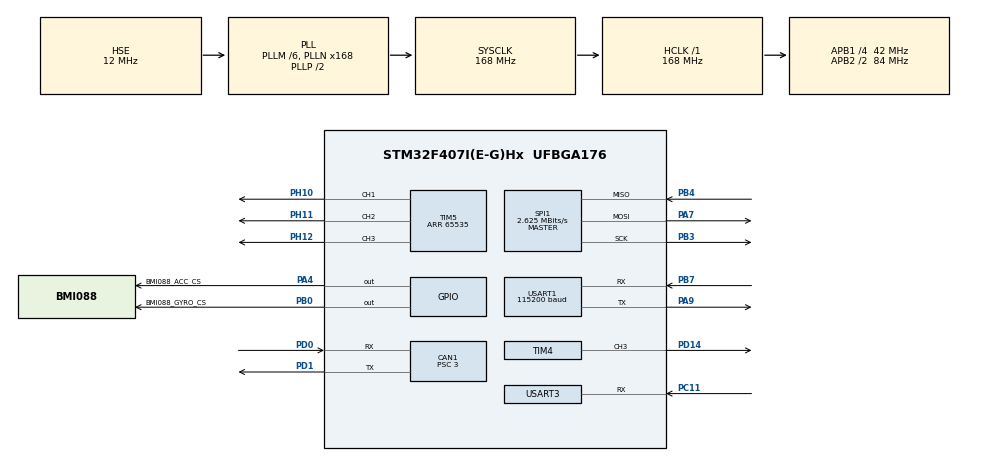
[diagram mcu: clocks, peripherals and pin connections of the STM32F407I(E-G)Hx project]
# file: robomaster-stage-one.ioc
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FREERTOS.Tasks01=defaultTask,0,512,StartDefaultTask,Default,NULL,Dynamic,NULL,NULL;ledtask,-2,128,led_task,As external,NULL,Dynamic,NULL,NULL;buzzertask,-2,128,buzzer_task,As external,NULL,Dynamic,NULL,NULL
Mcu.Family=STM32F4
Mcu.Name=STM32F407I(E-G)Hx
Mcu.Package=UFBGA176
NVIC.PriorityGroup=NVIC_PRIORITYGROUP_4
PA13.Mode=Serial_Wire
PA13.Signal=SYS_JTMS-SWDIO
PA14.Mode=Serial_Wire
PA14.Signal=SYS_JTCK-SWCLK
PD14.Signal=S_TIM4_CH3
PH0-OSC_IN.Mode=HSE-External-Oscillator
PH0-OSC_IN.Signal=RCC_OSC_IN
PH1-OSC_OUT.Mode=HSE-External-Oscillator
PH1-OSC_OUT.Signal=RCC_OSC_OUT
PH10.GPIO_PuPd=GPIO_PULLUP
PH10.Signal=S_TIM5_CH1
PH11.GPIO_PuPd=GPIO_PULLUP
PH11.GPIO_Speed=GPIO_SPEED_FREQ_HIGH
PH11.Signal=S_TIM5_CH2
PH12.GPIO_PuPd=GPIO_PULLUP
PH12.GPIO_Speed=GPIO_SPEED_FREQ_HIGH
PH12.Signal=S_TIM5_CH3
ProjectManager.HeapSize=0x200
ProjectManager.StackSize=0x400
ProjectManager.TargetToolchain=CMake
RCC.48MHZClocksFreq_Value=84000000
RCC.AHBFreq_Value=168000000
RCC.APB1CLKDivider=RCC_HCLK_DIV4
RCC.APB1Freq_Value=42000000
RCC.APB1TimFreq_Value=84000000
RCC.APB2CLKDivider=RCC_HCLK_DIV2
RCC.APB2Freq_Value=84000000
RCC.APB2TimFreq_Value=168000000
RCC.CortexFreq_Value=168000000
RCC.HCLKFreq_Value=168000000
RCC.HSE_VALUE=12000000
RCC.HSI_VALUE=16000000
RCC.LSE_VALUE=32768
RCC.PLLM=6
RCC.PLLN=168
RCC.PLLSourceVirtual=RCC_PLLSOURCE_HSE
RCC.SYSCLKFreq_VALUE=168000000
RCC.SYSCLKSource=RCC_SYSCLKSOURCE_PLLCLK
RCC.VCOOutputFreq_Value=336000000
SH.S_TIM4_CH3.0=TIM4_CH3,PWM Generation3 CH3
SH.S_TIM5_CH1.0=TIM5_CH1,PWM Generation1 CH1
SH.S_TIM5_CH2.0=TIM5_CH2,PWM Generation2 CH2
SH.S_TIM5_CH3.0=TIM5_CH3,PWM Generation3 CH3
TIM4.Channel-PWM\ Generation3\ CH3=TIM_CHANNEL_3
TIM5.Channel-PWM\ Generation1\ CH1=TIM_CHANNEL_1
TIM5.Channel-PWM\ Generation2\ CH2=TIM_CHANNEL_2
TIM5.Channel-PWM\ Generation3\ CH3=TIM_CHANNEL_3
TIM5.Period=65535
VP_FREERTOS_VS_CMSIS_V1.Mode=CMSIS_V1
VP_TIM5_VS_ClockSourceINT.Mode=Internal
board=custom
PA4.PinState=GPIO_PIN_SET
PA4.GPIO_Label=BMI088_ACC_CS
PA4.Signal=GPIO_Output
PB0.PinState=GPIO_PIN_SET
PB0.GPIO_Label=BMI088_GYRO_CS
PB0.Signal=GPIO_Output
PA7.Mode=Full_Duplex_Master
PA7.Signal=SPI1_MOSI
PB3.Mode=Full_Duplex_Master
PB3.Signal=SPI1_SCK
PB4.Mode=Full_Duplex_Master
PB4.Signal=SPI1_MISO
PA9.Mode=Asynchronous
PA9.Signal=USART1_TX
PB7.Mode=Asynchronous
PB7.Signal=USART1_RX
SPI1.BaudRatePrescaler=SPI_BAUDRATEPRESCALER_32
SPI1.CLKPhase=SPI_PHASE_2EDGE
SPI1.CLKPolarity=SPI_POLARITY_HIGH
SPI1.CalculateBaudRate=2.625 MBits/s
SPI1.Direction=SPI_DIRECTION_2LINES
SPI1.Mode=SPI_MODE_MASTER
SPI1.VirtualType=VM_MASTER
USART1.BaudRate=115200
USART1.VirtualMode=VM_ASYNC
PC11.Mode=Asynchronous
PC11.Signal=USART3_RX
USART3.BaudRate=100000
USART3.WordLength=WORDLENGTH_9B
USART3.Parity=PARITY_EVEN
USART3.Mode=MODE_RX
USART3.VirtualMode=VM_ASYNC
NVIC.USART3_IRQn=true\:5\:0\:false\:false\:true\:true\:true\:true\:true
CAN1.Prescaler=3
CAN1.BS1=CAN_BS1_11TQ
CAN1.BS2=CAN_BS2_2TQ
CAN1.SJW=CAN_SJW_1TQ
CAN1.ABOM=ENABLE
CAN1.NART=DISABLE
CAN1.CalculateBaudRate=1000000
PD0.Mode=Master
PD0.Signal=CAN1_RX
PD1.Mode=Master
PD1.Signal=CAN1_TX
NVIC.CAN1_RX0_IRQn=true\:5\:0\:false\:false\:true\:true\:true\:true\:true
NVIC.CAN1_SCE_IRQn=true\:5\:0\:false\:false\:true\:true\:true\:true\:true

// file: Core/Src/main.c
// 111111
/* USER CODE BEGIN Header */
/**
  ******************************************************************************
  * @file           : main.c
  * @brief          : Main program body
  ******************************************************************************
  * @attention
  *
  * Copyright (c) 2026 STMicroelectronics.
  * All rights reserved.
  *
  * This software is licensed under terms that can be found in the LICENSE file
  * in the root directory of this software component.
  * If no LICENSE file comes with this software, it is provided AS-IS.
  *
  ******************************************************************************
  */
/* USER CODE END Header */
#include "main.h"
#include "cmsis_os.h"
#include "tim.h"
#include "gpio.h"
#include "spi.h"
#include "usart.h"
#include "can.h"

/* USER CODE BEGIN Includes */
#include "remote_control.h"

/* USER CODE END Includes */

void SystemClock_Config(void);
void MX_FREERTOS_Init(void);

int main(void)
{

  /* MCU Configuration--------------------------------------------------------*/

  /* Reset of all peripherals, Initializes the Flash interface and the Systick. */
  HAL_Init();

  /* Configure the system clock */
  SystemClock_Config();

  /* Initialize all configured peripherals */
  MX_GPIO_Init();
  MX_TIM5_Init();
  MX_TIM4_Init();
  MX_SPI1_Init();
  MX_USART1_UART_Init();
  MX_USART3_UART_Init();
  MX_CAN1_Init();
  /* USER CODE BEGIN 2 */
  remote_start();

  /* USER CODE END 2 */

  /* Call init function for freertos objects (in cmsis_os2.c) */
  MX_FREERTOS_Init();

  /* Start scheduler */
  osKernelStart();

  /* We should never get here as control is now taken by the scheduler */

  /* Infinite loop */
  /* USER CODE BEGIN WHILE */
  while (1)
  {
    // HAL_GPIO_TogglePin(GPIOH,GPIO_PIN_10);
    // HAL_Delay(500);
    /* USER CODE END WHILE */

  }
}

void SystemClock_Config(void)
{
  RCC_OscInitTypeDef RCC_OscInitStruct = {0};
  RCC_ClkInitTypeDef RCC_ClkInitStruct = {0};

  /** Configure the main internal regulator output voltage
  */
  __HAL_RCC_PWR_CLK_ENABLE();
  __HAL_PWR_VOLTAGESCALING_CONFIG(PWR_REGULATOR_VOLTAGE_SCALE1);

  /** Initializes the RCC Oscillators according to the specified parameters
  * in the RCC_OscInitTypeDef structure.
  */
  RCC_OscInitStruct.OscillatorType = RCC_OSCILLATORTYPE_HSE;
  RCC_OscInitStruct.HSEState = RCC_HSE_ON;
  RCC_OscInitStruct.PLL.PLLState = RCC_PLL_ON;
  RCC_OscInitStruct.PLL.PLLSource = RCC_PLLSOURCE_HSE;
  RCC_OscInitStruct.PLL.PLLM = 6;
  RCC_OscInitStruct.PLL.PLLN = 168;
  RCC_OscInitStruct.PLL.PLLP = RCC_PLLP_DIV2;
  RCC_OscInitStruct.PLL.PLLQ = 4;
  if (HAL_RCC_OscConfig(&RCC_OscInitStruct) != HAL_OK)
  {
    Error_Handler();
  }

  /** Initializes the CPU, AHB and APB buses clocks
  */
  RCC_ClkInitStruct.ClockType = RCC_CLOCKTYPE_HCLK|RCC_CLOCKTYPE_SYSCLK
                              |RCC_CLOCKTYPE_PCLK1|RCC_CLOCKTYPE_PCLK2;
  RCC_ClkInitStruct.SYSCLKSource = RCC_SYSCLKSOURCE_PLLCLK;
  RCC_ClkInitStruct.AHBCLKDivider = RCC_SYSCLK_DIV1;
  RCC_ClkInitStruct.APB1CLKDivider = RCC_HCLK_DIV4;
  RCC_ClkInitStruct.APB2CLKDivider = RCC_HCLK_DIV2;

  if (HAL_RCC_ClockConfig(&RCC_ClkInitStruct, FLASH_LATENCY_5) != HAL_OK)
  {
    Error_Handler();
  }
}

void Error_Handler(void)
{
  __disable_irq();
  while (1)
  {
  }
}

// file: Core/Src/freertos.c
/* USER CODE BEGIN Header */
/**
  ******************************************************************************
  * File Name          : freertos.c
  * Description        : Code for freertos applications
  ******************************************************************************
  * @attention
  *
  * Copyright (c) 2026 STMicroelectronics.
  * All rights reserved.
  *
  * This software is licensed under terms that can be found in the LICENSE file
  * in the root directory of this software component.
  * If no LICENSE file comes with this software, it is provided AS-IS.
  *
  ******************************************************************************
  */
/* USER CODE END Header */

#include "FreeRTOS.h"
#include "task.h"
#include "main.h"
#include "cmsis_os.h"

/* USER CODE BEGIN Includes */
#include "remote_control.h"
#include "motor_control.h"
#include "application_tasks.h"

/* USER CODE END Includes */

osThreadId defaultTaskHandle;
osThreadId ledtaskHandle;
osThreadId buzzertaskHandle;

void StartDefaultTask(void const * argument);
extern void led_task(void const * argument);
extern void buzzer_task(void const * argument);

void MX_FREERTOS_Init(void); /* (MISRA C 2004 rule 8.1) */

/* GetIdleTaskMemory prototype (linked to static allocation support) */
void vApplicationGetIdleTaskMemory( StaticTask_t **ppxIdleTaskTCBBuffer, StackType_t **ppxIdleTaskStackBuffer, uint32_t *pulIdleTaskStackSize );

/* USER CODE BEGIN GET_IDLE_TASK_MEMORY */
static StaticTask_t xIdleTaskTCBBuffer;
static StackType_t xIdleStack[configMINIMAL_STACK_SIZE];

void vApplicationGetIdleTaskMemory( StaticTask_t **ppxIdleTaskTCBBuffer, StackType_t **ppxIdleTaskStackBuffer, uint32_t *pulIdleTaskStackSize )
{
  *ppxIdleTaskTCBBuffer = &xIdleTaskTCBBuffer;
  *ppxIdleTaskStackBuffer = &xIdleStack[0];
  *pulIdleTaskStackSize = configMINIMAL_STACK_SIZE;
  /* place for user code */
}
/* USER CODE END GET_IDLE_TASK_MEMORY */

void MX_FREERTOS_Init(void) {

  /* Create the thread(s) */
  /* definition and creation of defaultTask */
  osThreadDef(defaultTask, StartDefaultTask, osPriorityNormal, 0, 512);
  defaultTaskHandle = osThreadCreate(osThread(defaultTask), NULL);

  /* definition and creation of ledtask */
  osThreadDef(ledtask, led_task, osPriorityLow, 0, 128);
  ledtaskHandle = osThreadCreate(osThread(ledtask), NULL);

  /* definition and creation of buzzertask */
  osThreadDef(buzzertask, buzzer_task, osPriorityLow, 0, 128);
  buzzertaskHandle = osThreadCreate(osThread(buzzertask), NULL);

  /* USER CODE BEGIN RTOS_THREADS */

  osThreadDef(imutask, imu_task, osPriorityAboveNormal, 0, 512);
  if (osThreadCreate(osThread(imutask), NULL) == NULL) {
    Error_Handler();
  }
  osThreadDef(motorcontroltask, motor_control_task, osPriorityHigh, 0, 512);
  if (osThreadCreate(osThread(motorcontroltask), NULL) == NULL) {
    Error_Handler();
  }
  osThreadDef(telemetrytask, telemetry_task, osPriorityLow, 0, 1024);
  if (osThreadCreate(osThread(telemetrytask), NULL) == NULL) {
    Error_Handler();
  }
  /* add threads, ... */
  /* USER CODE END RTOS_THREADS */

}

void StartDefaultTask(void const * argument)
{
  /* USER CODE BEGIN StartDefaultTask */
  /* Infinite loop */
  for(;;)
  {
    remote_service();
    app_heartbeat();
    osDelay(20);
  }
  /* USER CODE END StartDefaultTask */
}
